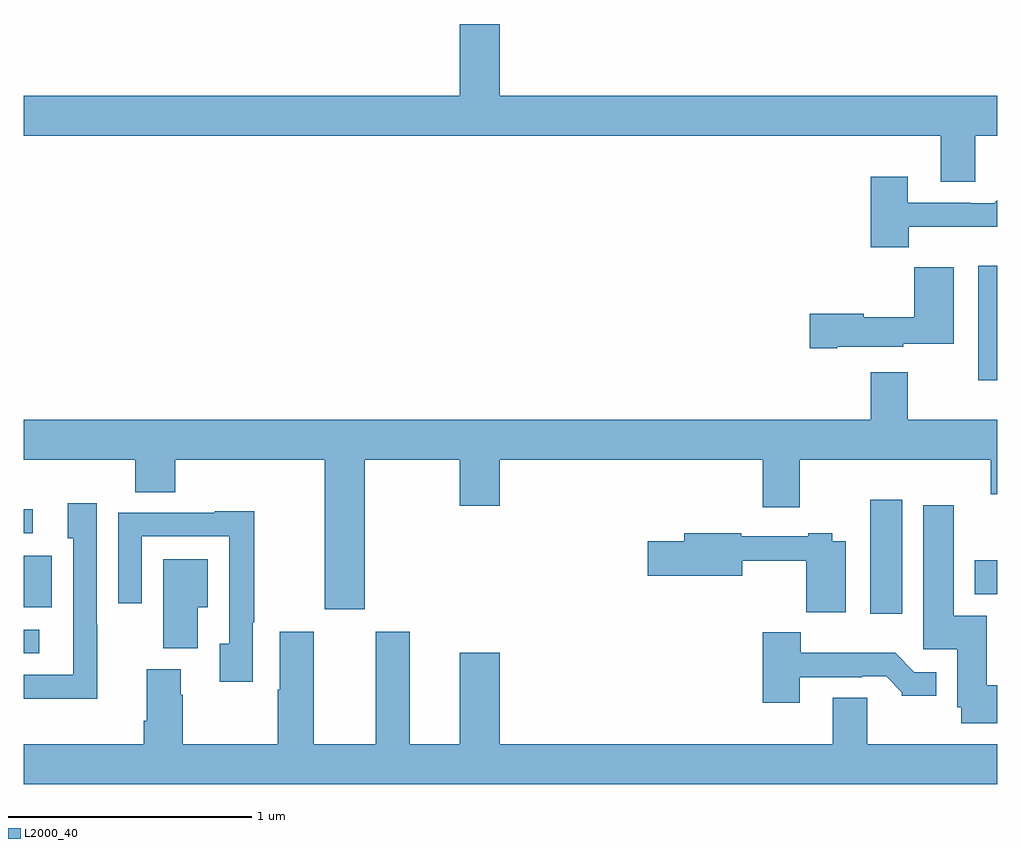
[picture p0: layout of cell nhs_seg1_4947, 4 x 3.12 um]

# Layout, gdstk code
import gdstk
lib = gdstk.Library(unit=1e-6, precision=1e-09)
def R(c, l, rs):  # rectangles x0, y0, x1, y1
    for r in rs: c.add(gdstk.rectangle(r[:2], r[2:], *l))
def P(c, l, *ps):  # polygons
    for p in ps: c.add(gdstk.Polygon(p, *l))
L2000_40 = (2000, 40)

nhs_seg1_4947 = lib.new_cell('nhs_seg1_4947')
R(nhs_seg1_4947, L2000_40, [(379,541.614,379.063,541.71), (382.478,541.776,382.609,542.245), (379,541.802,379.114,542.013), (382.907,541.856,383,541.996), (379,542.106,379.036,542.204), (382.922,542.736,383,543.205)])
P(nhs_seg1_4947, L2000_40, [(382.909,543.74),(383,543.74),(383,543.904),(380.956,543.904),(380.956,544.199),(380.792,544.199),(380.792,543.904),(379,543.904),(379,543.74),(382.769,543.74),(382.769,543.55),(382.909,543.55)],
  [(382.636,543.366),(383,543.366),(383,543.474),(382.988,543.462),(382.889,543.462),(382.889,543.465),(382.633,543.465),(382.633,543.571),(382.481,543.571),(382.481,543.281),(382.636,543.281)],
  [(382.342,542.873),(382.614,542.873),(382.614,542.885),(382.822,542.885),(382.822,543.199),(382.66,543.199),(382.66,542.995),(382.452,542.995),(382.452,543.008),(382.23,543.008),(382.23,542.866),(382.342,542.866)],
  [(380.401,542.408),(380.792,542.408),(380.792,542.22),(380.956,542.22),(380.956,542.408),(382.037,542.408),(382.037,542.214),(382.189,542.214),(382.189,542.408),(382.973,542.408),(382.973,542.267),(383,542.267),(383,542.572),(382.633,542.572),(382.633,542.767),(382.481,542.767),(382.481,542.572),(379,542.572),(379,542.408),(379.457,542.408),(379.457,542.275),(379.622,542.275),(379.622,542.408),(380.237,542.408),(380.237,541.794),(380.401,541.794)],
  [(379.301,541.73),(379.299,541.73),(379.299,542.23),(379.181,542.23),(379.181,542.085),(379.203,542.085),(379.203,541.524),(379,541.524),(379,541.427),(379.301,541.427)],
  [(383,541.482),(382.957,541.482),(382.957,541.768),(382.822,541.768),(382.822,542.221),(382.697,542.221),(382.697,541.629),(382.835,541.629),(382.835,541.392),(382.852,541.392),(382.852,541.326),(383,541.326)],
  [(379.941,541.741),(379.946,541.741),(379.946,542.197),(379.785,542.197),(379.785,542.19),(379.389,542.19),(379.389,541.818),(379.485,541.818),(379.485,542.094),(379.845,542.094),(379.845,541.653),(379.805,541.653),(379.805,541.497),(379.941,541.497)],
  [(382.378,542.074),(382.323,542.074),(382.323,542.107),(382.223,542.107),(382.223,542.094),(381.948,542.094),(381.948,542.107),(381.713,542.107),(381.713,542.073),(381.564,542.073),(381.564,541.931),(381.952,541.931),(381.952,541.993),(382.216,541.993),(382.216,541.781),(382.378,541.781)],
  [(379.714,541.802),(379.756,541.802),(379.756,541.999),(379.574,541.999),(379.574,541.633),(379.714,541.633)],
  [(383,541.24),(382.465,541.24),(382.465,541.43),(382.325,541.43),(382.325,541.24),(380.956,541.24),(380.956,541.615),(380.792,541.615),(380.792,541.24),(380.587,541.24),(380.587,541.702),(380.447,541.702),(380.447,541.24),(380.191,541.24),(380.191,541.702),(380.051,541.702),(380.051,541.463),(380.044,541.463),(380.044,541.24),(379.653,541.24),(379.653,541.442),(379.645,541.442),(379.645,541.548),(379.505,541.548),(379.505,541.336),(379.493,541.336),(379.493,541.24),(379,541.24),(379,541.076),(383,541.076)],
  [(382.189,541.515),(382.445,541.515),(382.445,541.518),(382.544,541.518),(382.608,541.454),(382.608,541.439),(382.75,541.439),(382.75,541.536),(382.659,541.536),(382.581,541.615),(382.192,541.615),(382.192,541.699),(382.037,541.699),(382.037,541.41),(382.189,541.41)])

lib.write_gds('nhs_seg1_4947.gds')
